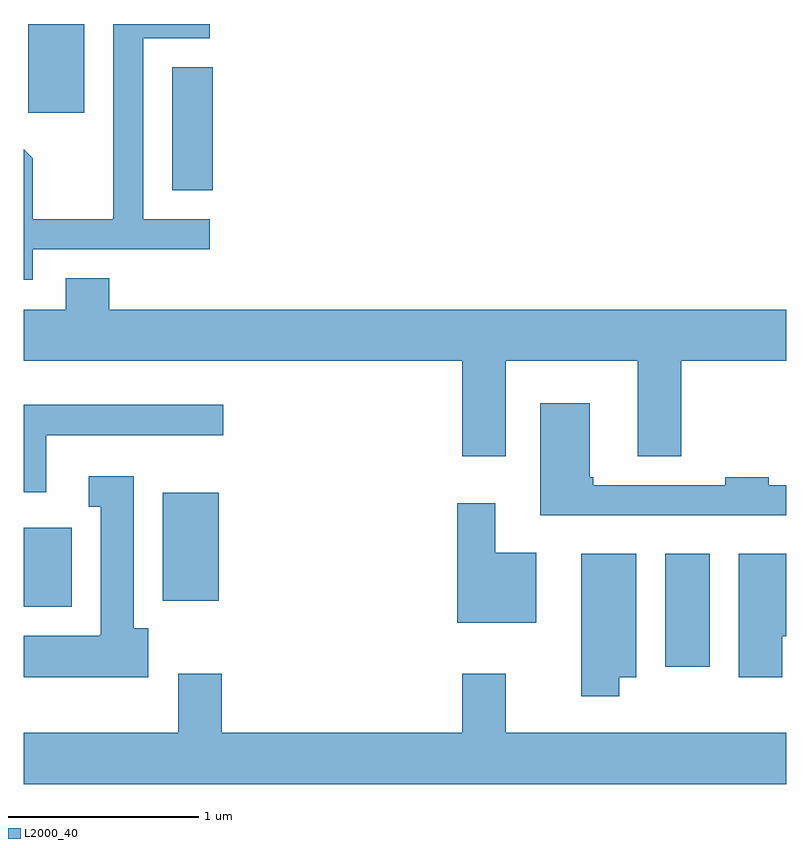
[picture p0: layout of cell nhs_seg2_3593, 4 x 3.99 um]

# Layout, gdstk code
import gdstk
lib = gdstk.Library(unit=1e-6, precision=1e-09)
def R(c, l, rs):  # rectangles x0, y0, x1, y1
    for r in rs: c.add(gdstk.rectangle(r[:2], r[2:], *l))
def P(c, l, *ps):  # polygons
    for p in ps: c.add(gdstk.Polygon(p, *l))
L2000_40 = (2000, 40)

nhs_seg2_3593 = lib.new_cell('nhs_seg2_3593')
R(nhs_seg2_3593, L2000_40, [(292.976,1104.431,293.209,1105.024), (289.611,1104.746,289.864,1105.159), (290.341,1104.776,290.634,1105.344), (290.391,1106.931,290.604,1107.574), (289.636,1107.336,289.929,1107.802)])
P(nhs_seg2_3593, L2000_40, [(289.659,1106.621),(290.588,1106.621),(290.588,1106.779),(290.239,1106.779),(290.239,1107.726),(290.588,1107.726),(290.588,1107.802),(290.081,1107.802),(290.081,1106.779),(289.659,1106.779),(289.659,1107.097),(289.611,1107.145),(289.611,1106.461),(289.659,1106.461)],
  [(292.139,1106.036),(292.831,1106.036),(292.831,1105.536),(293.059,1105.536),(293.059,1106.036),(293.611,1106.036),(293.611,1106.304),(290.059,1106.304),(290.059,1106.469),(289.831,1106.469),(289.831,1106.304),(289.611,1106.304),(289.611,1106.036),(291.911,1106.036),(291.911,1105.536),(292.139,1105.536)],
  [(293.611,1105.384),(293.519,1105.384),(293.519,1105.424),(293.291,1105.424),(293.291,1105.384),(292.599,1105.384),(292.599,1105.424),(292.579,1105.424),(292.579,1105.814),(292.321,1105.814),(292.321,1105.226),(293.611,1105.226)],
  [(289.729,1105.646),(290.658,1105.646),(290.658,1105.804),(289.611,1105.804),(289.611,1105.346),(289.729,1105.346)],
  [(290.264,1104.634),(290.189,1104.634),(290.189,1105.429),(289.953,1105.429),(289.953,1105.271),(290.016,1105.271),(290.016,1104.6),(290.01,1104.6),(290.01,1104.594),(289.611,1104.594),(289.611,1104.376),(290.264,1104.376)],
  [(292.299,1105.029),(292.084,1105.029),(292.084,1105.289),(291.886,1105.289),(291.886,1104.661),(292.299,1104.661)],
  [(292.734,1104.376),(292.824,1104.376),(292.824,1105.024),(292.536,1105.024),(292.536,1104.276),(292.734,1104.276)],
  [(293.589,1104.591),(293.611,1104.591),(293.611,1105.024),(293.361,1105.024),(293.361,1104.376),(293.589,1104.376)],
  [(293.611,1104.084),(292.139,1104.084),(292.139,1104.394),(291.911,1104.394),(291.911,1104.084),(290.649,1104.084),(290.649,1104.394),(290.421,1104.394),(290.421,1104.084),(289.611,1104.084),(289.611,1103.816),(293.611,1103.816)])

lib.write_gds('nhs_seg2_3593.gds')
